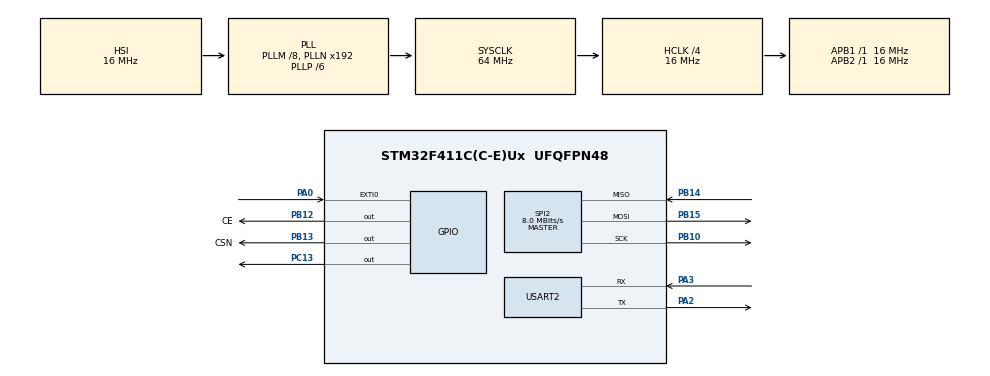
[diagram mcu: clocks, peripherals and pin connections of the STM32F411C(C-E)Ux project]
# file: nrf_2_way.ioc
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Mcu.Family=STM32F4
Mcu.Name=STM32F411C(C-E)Ux
Mcu.Package=UFQFPN48
NVIC.EXTI0_IRQn=true\:0\:0\:false\:false\:true\:true\:true\:true
NVIC.PriorityGroup=NVIC_PRIORITYGROUP_4
NVIC.SPI2_IRQn=true\:0\:0\:false\:false\:true\:true\:true\:true
NVIC.TIM3_IRQn=true\:0\:0\:false\:false\:true\:true\:true\:true
NVIC.USART2_IRQn=true\:0\:0\:false\:false\:true\:true\:true\:true
PA0-WKUP.GPIO_ModeDefaultEXTI=GPIO_MODE_IT_FALLING
PA0-WKUP.Signal=GPXTI0
PA2.Mode=Asynchronous
PA2.Signal=USART2_TX
PA3.Mode=Asynchronous
PA3.Signal=USART2_RX
PB10.Mode=Full_Duplex_Master
PB10.Signal=SPI2_SCK
PB12.GPIO_Label=CE
PB12.GPIO_Speed=GPIO_SPEED_FREQ_HIGH
PB12.Signal=GPIO_Output
PB13.GPIO_Label=CSN
PB13.GPIO_Speed=GPIO_SPEED_FREQ_HIGH
PB13.Signal=GPIO_Output
PB14.Mode=Full_Duplex_Master
PB14.Signal=SPI2_MISO
PB15.Mode=Full_Duplex_Master
PB15.Signal=SPI2_MOSI
PC13-ANTI_TAMP.Signal=GPIO_Output
ProjectManager.HeapSize=0x200
ProjectManager.StackSize=0x400
ProjectManager.TargetToolchain=STM32CubeIDE
RCC.48MHZClocksFreq_Value=96000000
RCC.AHBCLKDivider=RCC_SYSCLK_DIV4
RCC.AHBFreq_Value=16000000
RCC.APB1Freq_Value=16000000
RCC.APB1TimFreq_Value=16000000
RCC.APB2Freq_Value=16000000
RCC.APB2TimFreq_Value=16000000
RCC.CortexFreq_Value=16000000
RCC.HCLKFreq_Value=16000000
RCC.HSE_VALUE=25000000
RCC.HSI_VALUE=16000000
RCC.LSE_VALUE=32768
RCC.PLLM=8
RCC.PLLP=RCC_PLLP_DIV6
RCC.SYSCLKFreq_VALUE=64000000
RCC.SYSCLKSource=RCC_SYSCLKSOURCE_PLLCLK
RCC.VCOOutputFreq_Value=384000000
SPI2.BaudRatePrescaler=SPI_BAUDRATEPRESCALER_2
SPI2.CalculateBaudRate=8.0 MBits/s
SPI2.Direction=SPI_DIRECTION_2LINES
SPI2.Mode=SPI_MODE_MASTER
SPI2.VirtualType=VM_MASTER
TIM3.Period=4999
TIM3.Prescaler=1599
USART2.VirtualMode=VM_ASYNC
VP_TIM3_VS_ClockSourceINT.Mode=Internal
board=custom

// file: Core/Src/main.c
/* USER CODE BEGIN Header */
/**
  ******************************************************************************
  * @file           : main.c
  * @brief          : Main program body
  ******************************************************************************
  * @attention
  *
  * Copyright (c) 2024 STMicroelectronics.
  * All rights reserved.
  *
  * This software is licensed under terms that can be found in the LICENSE file
  * in the root directory of this software component.
  * If no LICENSE file comes with this software, it is provided AS-IS.
  *
  ******************************************************************************
  */
/* USER CODE END Header */
#include "main.h"

/* USER CODE BEGIN Includes */
#include <stdio.h>
#include <string.h>
#include <stdbool.h>
#include "NRF24.h"
#include "NRF24_reg_addresses.h"
/* USER CODE END Includes */

/* USER CODE BEGIN PD */

#define NRF_SIZE 32
#define ROVER

/* USER CODE END PD */

SPI_HandleTypeDef hspi2;

TIM_HandleTypeDef htim3;

UART_HandleTypeDef huart2;

void SystemClock_Config(void);
static void MX_GPIO_Init(void);
static void MX_SPI2_Init(void);
static void MX_USART2_UART_Init(void);
static void MX_TIM3_Init(void);

/* USER CODE BEGIN 0 */

uint8_t addr_base[5] = { 0x10, 0x21, 0x32, 0x43, 0x54 };

uint8_t addr_rover[5] = { 0x10, 0x21, 0x32, 0x43, 0x53 };

uint8_t data_tx[NRF_SIZE] = { "Hello" };

uint8_t data_rx[NRF_SIZE];

uint8_t data_response[NRF_SIZE] = { "OK" };

bool is_timeout = false;

/* USER CODE END 0 */

int main(void)
{

  /* MCU Configuration--------------------------------------------------------*/

  /* Reset of all peripherals, Initializes the Flash interface and the Systick. */
  HAL_Init();

  /* Configure the system clock */
  SystemClock_Config();

  /* Initialize all configured peripherals */
  MX_GPIO_Init();
  MX_SPI2_Init();
  MX_USART2_UART_Init();
  MX_TIM3_Init();
  /* USER CODE BEGIN 2 */
  csn_high();
	nrf24_init();
	nrf24_tx_pwr(_0dbm);
	nrf24_data_rate(_1mbps);
	nrf24_set_channel(78);
	nrf24_set_crc(en_crc, _1byte);
	nrf24_pipe_pld_size(0, NRF_SIZE);
	HAL_TIM_Base_Start_IT(&htim3);

#ifdef BASE
	nrf24_open_tx_pipe(addr_base);
	nrf24_open_rx_pipe(0, addr_rover);
#endif
#ifdef ROVER
	nrf24_open_tx_pipe(addr_rover);
	nrf24_open_rx_pipe(0, addr_base);
#endif
    HAL_Delay(1000); // waiting initial Station
  /* USER CODE END 2 */

  /* Infinite loop */
  /* USER CODE BEGIN WHILE */
  while (1)
  {
#ifdef BASE
	  nrf24_stop_listen();
	  nrf24_transmit(data_tx, sizeof(data_tx));

//	  nrf24_pwr_dwn();
//
//	  nrf24_pwr_up();

	  nrf24_listen();

	  if(is_timeout){
		  if (nrf24_data_available()){
			  nrf24_receive(data_rx, sizeof(data_rx));
			  char tmp[40];
			  sprintf(tmp, " %s.\r\n", data_rx);

			  HAL_UART_Transmit(&huart2, data_rx, NRF_SIZE, 100);

			  for (uint8_t i = 0; i < NRF_SIZE; i++){
				  data_rx[i] = '\0';
			  }
		  }
		  is_timeout = false;
	  }

	  HAL_Delay(500);
#endif

#ifdef ROVER
	  nrf24_listen();

	  if (nrf24_data_available()){
		  nrf24_receive(data_rx, sizeof(data_rx));

		  bool is_correct = true;
		  for (uint8_t i = 0; i < 5; i++){
			  if (data_rx[i] != data_tx[i])
				  is_correct = false;
		  }

		  if(is_correct){
			  nrf24_pwr_dwn();

			  nrf24_stop_listen();
			  nrf24_transmit(data_response, sizeof(data_response));

			  HAL_UART_Transmit(&huart2, data_rx, NRF_SIZE, 100);
		  };

		  for (uint8_t i = 0; i < NRF_SIZE; i++){
			  data_rx[i] = '\0';
		  }

		  nrf24_listen();
	  }
#endif
    /* USER CODE END WHILE */

  }
}

void SystemClock_Config(void)
{
  RCC_OscInitTypeDef RCC_OscInitStruct = {0};
  RCC_ClkInitTypeDef RCC_ClkInitStruct = {0};

  /** Configure the main internal regulator output voltage
  */
  __HAL_RCC_PWR_CLK_ENABLE();
  __HAL_PWR_VOLTAGESCALING_CONFIG(PWR_REGULATOR_VOLTAGE_SCALE1);

  /** Initializes the RCC Oscillators according to the specified parameters
  * in the RCC_OscInitTypeDef structure.
  */
  RCC_OscInitStruct.OscillatorType = RCC_OSCILLATORTYPE_HSI;
  RCC_OscInitStruct.HSIState = RCC_HSI_ON;
  RCC_OscInitStruct.HSICalibrationValue = RCC_HSICALIBRATION_DEFAULT;
  RCC_OscInitStruct.PLL.PLLState = RCC_PLL_ON;
  RCC_OscInitStruct.PLL.PLLSource = RCC_PLLSOURCE_HSI;
  RCC_OscInitStruct.PLL.PLLM = 8;
  RCC_OscInitStruct.PLL.PLLN = 192;
  RCC_OscInitStruct.PLL.PLLP = RCC_PLLP_DIV6;
  RCC_OscInitStruct.PLL.PLLQ = 4;
  if (HAL_RCC_OscConfig(&RCC_OscInitStruct) != HAL_OK)
  {
    Error_Handler();
  }

  /** Initializes the CPU, AHB and APB buses clocks
  */
  RCC_ClkInitStruct.ClockType = RCC_CLOCKTYPE_HCLK|RCC_CLOCKTYPE_SYSCLK
                              |RCC_CLOCKTYPE_PCLK1|RCC_CLOCKTYPE_PCLK2;
  RCC_ClkInitStruct.SYSCLKSource = RCC_SYSCLKSOURCE_PLLCLK;
  RCC_ClkInitStruct.AHBCLKDivider = RCC_SYSCLK_DIV4;
  RCC_ClkInitStruct.APB1CLKDivider = RCC_HCLK_DIV1;
  RCC_ClkInitStruct.APB2CLKDivider = RCC_HCLK_DIV1;

  if (HAL_RCC_ClockConfig(&RCC_ClkInitStruct, FLASH_LATENCY_0) != HAL_OK)
  {
    Error_Handler();
  }
}

static void MX_SPI2_Init(void)
{

  /* SPI2 parameter configuration*/
  hspi2.Instance = SPI2;
  hspi2.Init.Mode = SPI_MODE_MASTER;
  hspi2.Init.Direction = SPI_DIRECTION_2LINES;
  hspi2.Init.DataSize = SPI_DATASIZE_8BIT;
  hspi2.Init.CLKPolarity = SPI_POLARITY_LOW;
  hspi2.Init.CLKPhase = SPI_PHASE_1EDGE;
  hspi2.Init.NSS = SPI_NSS_SOFT;
  hspi2.Init.BaudRatePrescaler = SPI_BAUDRATEPRESCALER_2;
  hspi2.Init.FirstBit = SPI_FIRSTBIT_MSB;
  hspi2.Init.TIMode = SPI_TIMODE_DISABLE;
  hspi2.Init.CRCCalculation = SPI_CRCCALCULATION_DISABLE;
  hspi2.Init.CRCPolynomial = 10;
  if (HAL_SPI_Init(&hspi2) != HAL_OK)
  {
    Error_Handler();
  }

}

static void MX_TIM3_Init(void)
{

  TIM_ClockConfigTypeDef sClockSourceConfig = {0};
  TIM_MasterConfigTypeDef sMasterConfig = {0};

  htim3.Instance = TIM3;
  htim3.Init.Prescaler = 1599;
  htim3.Init.CounterMode = TIM_COUNTERMODE_UP;
  htim3.Init.Period = 4999;
  htim3.Init.ClockDivision = TIM_CLOCKDIVISION_DIV1;
  htim3.Init.AutoReloadPreload = TIM_AUTORELOAD_PRELOAD_DISABLE;
  if (HAL_TIM_Base_Init(&htim3) != HAL_OK)
  {
    Error_Handler();
  }
  sClockSourceConfig.ClockSource = TIM_CLOCKSOURCE_INTERNAL;
  if (HAL_TIM_ConfigClockSource(&htim3, &sClockSourceConfig) != HAL_OK)
  {
    Error_Handler();
  }
  sMasterConfig.MasterOutputTrigger = TIM_TRGO_RESET;
  sMasterConfig.MasterSlaveMode = TIM_MASTERSLAVEMODE_DISABLE;
  if (HAL_TIMEx_MasterConfigSynchronization(&htim3, &sMasterConfig) != HAL_OK)
  {
    Error_Handler();
  }

}

static void MX_USART2_UART_Init(void)
{

  huart2.Instance = USART2;
  huart2.Init.BaudRate = 115200;
  huart2.Init.WordLength = UART_WORDLENGTH_8B;
  huart2.Init.StopBits = UART_STOPBITS_1;
  huart2.Init.Parity = UART_PARITY_NONE;
  huart2.Init.Mode = UART_MODE_TX_RX;
  huart2.Init.HwFlowCtl = UART_HWCONTROL_NONE;
  huart2.Init.OverSampling = UART_OVERSAMPLING_16;
  if (HAL_UART_Init(&huart2) != HAL_OK)
  {
    Error_Handler();
  }

}

static void MX_GPIO_Init(void)
{
  GPIO_InitTypeDef GPIO_InitStruct = {0};

  /* GPIO Ports Clock Enable */
  __HAL_RCC_GPIOC_CLK_ENABLE();
  __HAL_RCC_GPIOA_CLK_ENABLE();
  __HAL_RCC_GPIOB_CLK_ENABLE();

  /*Configure GPIO pin Output Level */
  HAL_GPIO_WritePin(GPIOC, GPIO_PIN_13, GPIO_PIN_RESET);

  /*Configure GPIO pin Output Level */
  HAL_GPIO_WritePin(GPIOB, CE_Pin|CSN_Pin, GPIO_PIN_RESET);

  /*Configure GPIO pin : PC13 */
  GPIO_InitStruct.Pin = GPIO_PIN_13;
  GPIO_InitStruct.Mode = GPIO_MODE_OUTPUT_PP;
  GPIO_InitStruct.Pull = GPIO_NOPULL;
  GPIO_InitStruct.Speed = GPIO_SPEED_FREQ_LOW;
  HAL_GPIO_Init(GPIOC, &GPIO_InitStruct);

  /*Configure GPIO pin : PA0 */
  GPIO_InitStruct.Pin = GPIO_PIN_0;
  GPIO_InitStruct.Mode = GPIO_MODE_IT_FALLING;
  GPIO_InitStruct.Pull = GPIO_NOPULL;
  HAL_GPIO_Init(GPIOA, &GPIO_InitStruct);

  /*Configure GPIO pins : CE_Pin CSN_Pin */
  GPIO_InitStruct.Pin = CE_Pin|CSN_Pin;
  GPIO_InitStruct.Mode = GPIO_MODE_OUTPUT_PP;
  GPIO_InitStruct.Pull = GPIO_NOPULL;
  GPIO_InitStruct.Speed = GPIO_SPEED_FREQ_HIGH;
  HAL_GPIO_Init(GPIOB, &GPIO_InitStruct);

  /* EXTI interrupt init*/
  HAL_NVIC_SetPriority(EXTI0_IRQn, 0, 0);
  HAL_NVIC_EnableIRQ(EXTI0_IRQn);

}

/* USER CODE BEGIN 4 */
void HAL_TIM_PeriodElapsedCallback(TIM_HandleTypeDef *htim)
{
	if(htim->Instance == TIM3)
	{
		is_timeout = true;
	}
}
/* USER CODE END 4 */

void Error_Handler(void)
{
  __disable_irq();
  while (1)
  {
  }
}
